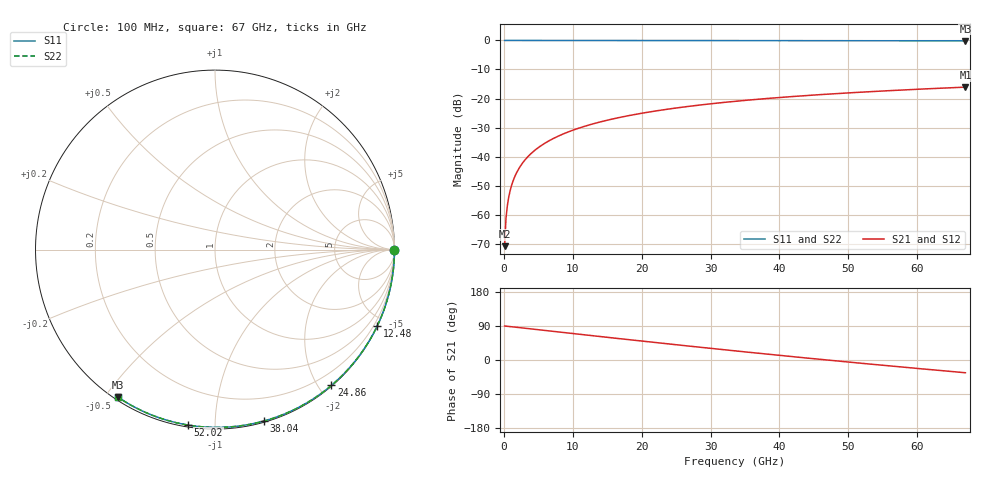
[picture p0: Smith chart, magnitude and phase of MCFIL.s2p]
! Touchstone Ver. 1.0
! Number of ports is 2
# Hz  S RI  R  50
! SCATTERING PARAMETERS  :
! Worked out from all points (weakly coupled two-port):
!   336 points, 100 MHz to 67 GHz, reference 50 ohm
!   highest |S21| = -16.07 dB at 67 GHz (marker M1); lowest = -70.8 dB at 100 MHz (marker M2)
!   lowest |S11| = -0.1 dB at 67 GHz (marker M3), VSWR 124.06, Z = 0.519 - j26.9 ohm
!   |S11| at or under -10 dB: nowhere
!   |S22| runs from -0.1 to 0.0 dB; largest |S21 - S12| = 1e-10
!   S11 on the Smith chart (normalised r, x): 100 MHz: open; 12.48 GHz: 0.01, -4.50; 24.86 GHz: 0.01, -2.18; 38.04 GHz: 0.01, -1.33; 52.02 GHz: 0.01, -0.86; 67 GHz: 0.01, -0.54
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1e8  1 -0.00352  1.24e-06 0.000287  1.24e-06 0.000287  1 -0.00352
2.997015e8  0.9999 -0.0106  9.77e-06 0.000859  9.77e-06 0.000859  0.9999 -0.0106
4.99403e8  0.9998 -0.0176  2.64e-05 0.00143  2.64e-05 0.00143  0.9998 -0.0176
6.991045e8  0.9997 -0.0246  5.1e-05 0.002  5.1e-05 0.002  0.9997 -0.0246
8.98806e8  0.9995 -0.0317  8.37e-05 0.00258  8.37e-05 0.00258  0.9995 -0.0317
1.298209e9  0.9989 -0.0457  0.000173 0.00372  0.000173 0.00372  0.9989 -0.0457
1.697612e9  0.9981 -0.0598  0.000295 0.00486  0.000295 0.00486  0.9981 -0.0598
2.296716e9  0.9966 -0.0808  0.000537 0.00656  0.000537 0.00656  0.9966 -0.0808
3.694627e9  0.9914 -0.1297  0.00138 0.0105  0.00138 0.0105  0.9914 -0.1297
5.691642e9  0.9797 -0.1989  0.00325 0.016  0.00325 0.016  0.9797 -0.1989
8.08806e9  0.9593 -0.2804  0.0065 0.0221  0.0065 0.0221  0.9593 -0.2804
1.128328e10  0.9217 -0.3854  0.0124 0.0296  0.0124 0.0296  0.9217 -0.3854
1.248149e10  0.9047 -0.4235  0.015 0.032  0.015 0.032  0.9047 -0.4235
1.707463e10  0.8257 -0.5609  0.027 0.0396  0.027 0.0396  0.8257 -0.5609
2.246657e10  0.7083 -0.7019  0.0438 0.0441  0.0438 0.0441  0.7083 -0.7019
2.486299e10  0.649 -0.7564  0.0519 0.0444  0.0519 0.0444  0.649 -0.7564
3.364985e10  0.4046 -0.9085  0.082 0.0364  0.082 0.0364  0.4046 -0.9085
3.804328e10  0.2725 -0.9552  0.096 0.0272  0.096 0.0272  0.2725 -0.9552
4.483313e10  0.0646 -0.9892  0.1142 0.00726  0.1142 0.00726  0.0646 -0.9892
5.202239e10  -0.1505 -0.9776  0.1275 -0.0199  0.1275 -0.0199  -0.1505 -0.9776
5.601642e10  -0.2642 -0.9518  0.1317 -0.0368  0.1317 -0.0368  -0.2642 -0.9518
6.7e10  -0.5431 -0.8205  0.1309 -0.087  0.1309 -0.087  -0.5431 -0.8205
